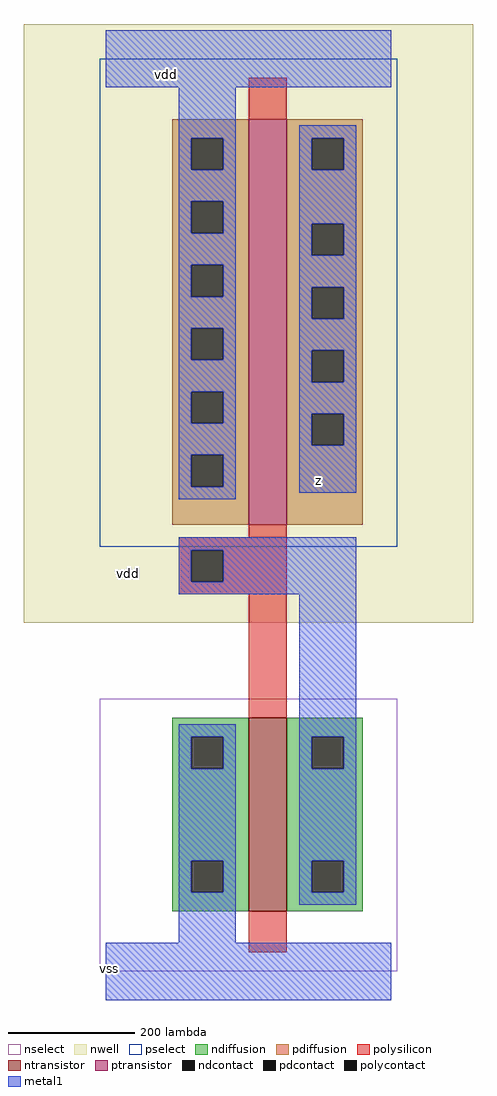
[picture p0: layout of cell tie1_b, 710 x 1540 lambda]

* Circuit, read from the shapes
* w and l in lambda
.subckt tie1_b z vdd vss
M1 n1 n1 vss VSUBS nfet w=305 l=60
M2 z n1 vdd vdd pfet w=640 l=60
.ends

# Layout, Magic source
magic
tech amic5n
<< nwell >>
rect -130 550 580 1495
<< ntransistor >>
rect 225 95 285 400
<< ptransistor >>
rect 225 705 285 1345
<< nselect >>
rect -10 0 460 430
<< pselect >>
rect -10 670 460 1440
<< ndiffusion >>
rect 105 370 225 400
rect 105 320 135 370
rect 185 320 225 370
rect 105 175 225 320
rect 105 125 135 175
rect 185 125 225 175
rect 105 95 225 125
rect 285 370 405 400
rect 285 320 325 370
rect 375 320 405 370
rect 285 175 405 320
rect 285 125 325 175
rect 375 125 405 175
rect 285 95 405 125
<< pdiffusion >>
rect 105 1315 225 1345
rect 105 1265 135 1315
rect 185 1265 225 1315
rect 105 1215 225 1265
rect 105 1165 135 1215
rect 185 1165 225 1215
rect 105 1115 225 1165
rect 105 1065 135 1115
rect 185 1065 225 1115
rect 105 1015 225 1065
rect 105 965 135 1015
rect 185 965 225 1015
rect 105 915 225 965
rect 105 865 135 915
rect 185 865 225 915
rect 105 815 225 865
rect 105 765 135 815
rect 185 765 225 815
rect 105 705 225 765
rect 285 1315 405 1345
rect 285 1265 325 1315
rect 375 1265 405 1315
rect 285 1180 405 1265
rect 285 1130 325 1180
rect 375 1130 405 1180
rect 285 1080 405 1130
rect 285 1030 325 1080
rect 375 1030 405 1080
rect 285 980 405 1030
rect 285 930 325 980
rect 375 930 405 980
rect 285 880 405 930
rect 285 830 325 880
rect 375 830 405 880
rect 285 705 405 830
<< ndcontact >>
rect 135 320 185 370
rect 135 125 185 175
rect 325 320 375 370
rect 325 125 375 175
<< pdcontact >>
rect 135 1265 185 1315
rect 135 1165 185 1215
rect 135 1065 185 1115
rect 135 965 185 1015
rect 135 865 185 915
rect 135 765 185 815
rect 325 1265 375 1315
rect 325 1130 375 1180
rect 325 1030 375 1080
rect 325 930 375 980
rect 325 830 375 880
<< polysilicon >>
rect 225 1345 285 1410
rect 225 685 285 705
rect 115 665 285 685
rect 115 615 135 665
rect 185 615 285 665
rect 115 595 285 615
rect 225 400 285 595
rect 225 30 285 95
<< polycontact >>
rect 135 615 185 665
<< metal1 >>
rect 0 1395 450 1485
rect 115 1315 205 1395
rect 115 1265 135 1315
rect 185 1265 205 1315
rect 115 1215 205 1265
rect 115 1165 135 1215
rect 185 1165 205 1215
rect 115 1115 205 1165
rect 115 1065 135 1115
rect 185 1065 205 1115
rect 115 1015 205 1065
rect 115 965 135 1015
rect 185 965 205 1015
rect 115 915 205 965
rect 115 865 135 915
rect 185 865 205 915
rect 115 815 205 865
rect 115 765 135 815
rect 185 765 205 815
rect 115 745 205 765
rect 305 1315 395 1335
rect 305 1265 325 1315
rect 375 1265 395 1315
rect 305 1180 395 1265
rect 305 1130 325 1180
rect 375 1130 395 1180
rect 305 1080 395 1130
rect 305 1030 325 1080
rect 375 1030 395 1080
rect 305 980 395 1030
rect 305 930 325 980
rect 375 930 395 980
rect 305 880 395 930
rect 305 830 325 880
rect 375 830 395 880
rect 305 755 395 830
rect 115 665 395 685
rect 115 615 135 665
rect 185 615 395 665
rect 115 595 395 615
rect 115 370 205 390
rect 115 320 135 370
rect 185 320 205 370
rect 115 175 205 320
rect 115 125 135 175
rect 185 125 205 175
rect 115 45 205 125
rect 305 370 395 595
rect 305 320 325 370
rect 375 320 395 370
rect 305 175 395 320
rect 305 125 325 175
rect 375 125 395 175
rect 305 105 395 125
rect 0 -45 450 45
<< labels >>
flabel metal1 s 95 1415 95 1415 2 FreeSans 400 0 0 0 vdd
port 1 ne
flabel metal1 s 5 5 5 5 2 FreeSans 400 0 0 0 vss
port 2 ne
flabel metal1 s 335 775 335 775 2 FreeSans 400 0 0 0 z
port 0 ne
flabel nwell s 35 625 35 630 2 FreeSans 160 0 0 0 vdd
<< properties >>
string LEFsite core
string LEFclass CORE
string FIXED_BBOX 0 0 450 1440
string LEFsymmetry X Y
<< end >>
